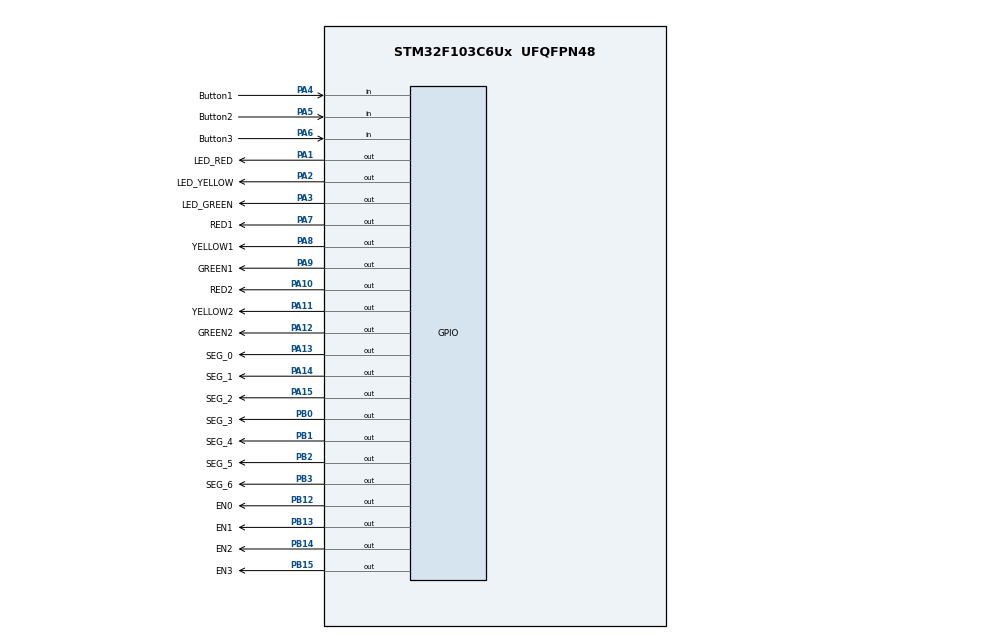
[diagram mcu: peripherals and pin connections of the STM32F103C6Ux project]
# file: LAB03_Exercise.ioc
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Mcu.Family=STM32F1
Mcu.Name=STM32F103C6Ux
Mcu.Package=UFQFPN48
NVIC.PriorityGroup=NVIC_PRIORITYGROUP_4
NVIC.TIM2_IRQn=true\:0\:0\:false\:false\:true\:true\:true
PA1.GPIO_Label=LED_RED
PA1.Signal=GPIO_Output
PA10.GPIO_Label=RED2
PA10.Signal=GPIO_Output
PA11.GPIO_Label=YELLOW2
PA11.Signal=GPIO_Output
PA12.GPIO_Label=GREEN2
PA12.Signal=GPIO_Output
PA13.GPIO_Label=SEG_0
PA13.Signal=GPIO_Output
PA14.GPIO_Label=SEG_1
PA14.Signal=GPIO_Output
PA15.GPIO_Label=SEG_2
PA15.Signal=GPIO_Output
PA2.GPIO_Label=LED_YELLOW
PA2.Signal=GPIO_Output
PA3.GPIO_Label=LED_GREEN
PA3.Signal=GPIO_Output
PA4.GPIO_Label=Button1
PA4.GPIO_PuPd=GPIO_PULLUP
PA4.Signal=GPIO_Input
PA5.GPIO_Label=Button2
PA5.GPIO_PuPd=GPIO_PULLUP
PA5.Signal=GPIO_Input
PA6.GPIO_Label=Button3
PA6.GPIO_PuPd=GPIO_PULLUP
PA6.Signal=GPIO_Input
PA7.GPIO_Label=RED1
PA7.Signal=GPIO_Output
PA8.GPIO_Label=YELLOW1
PA8.Signal=GPIO_Output
PA9.GPIO_Label=GREEN1
PA9.Signal=GPIO_Output
PB0.GPIO_Label=SEG_3
PB0.Signal=GPIO_Output
PB1.GPIO_Label=SEG_4
PB1.Signal=GPIO_Output
PB12.GPIO_Label=EN0
PB12.Signal=GPIO_Output
PB13.GPIO_Label=EN1
PB13.Signal=GPIO_Output
PB14.GPIO_Label=EN2
PB14.Signal=GPIO_Output
PB15.GPIO_Label=EN3
PB15.Signal=GPIO_Output
PB2.GPIO_Label=SEG_5
PB2.Signal=GPIO_Output
PB3.GPIO_Label=SEG_6
PB3.Signal=GPIO_Output
ProjectManager.HeapSize=0x200
ProjectManager.StackSize=0x400
ProjectManager.TargetToolchain=STM32CubeIDE
RCC.APB1Freq_Value=8000000
RCC.APB2Freq_Value=8000000
TIM2.Period=9
TIM2.Prescaler=7999
VP_SYS_VS_ND.Mode=No_Debug
VP_TIM2_VS_ClockSourceINT.Mode=Internal
board=custom

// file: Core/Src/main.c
/* USER CODE BEGIN Header */
/**
  ******************************************************************************
  * @file           : main.c
  * @brief          : Main program body
  ******************************************************************************
  * @attention
  *
  * <h2><center>&copy; Copyright (c) 2024 STMicroelectronics.
  * All rights reserved.</center></h2>
  *
  * This software component is licensed by ST under BSD 3-Clause license,
  * the "License"; You may not use this file except in compliance with the
  * License. You may obtain a copy of the License at:
  *                        opensource.org/licenses/BSD-3-Clause
  *
  ******************************************************************************
  */
/* USER CODE END Header */
#include "main.h"

/* USER CODE BEGIN Includes */
#include "software_timer.h"
#include "button.h"
#include "fsm_automatic.h"
#include "fsm_manual.h"
#include "fsm_setting.h"
#include "led7_segment.h"
#include "global.h"
/* USER CODE END Includes */

TIM_HandleTypeDef htim2;

void SystemClock_Config(void);
static void MX_GPIO_Init(void);
static void MX_TIM2_Init(void);

int main(void)
{

  /* MCU Configuration--------------------------------------------------------*/

  /* Reset of all peripherals, Initializes the Flash interface and the Systick. */
  HAL_Init();

  /* Configure the system clock */
  SystemClock_Config();

  /* Initialize all configured peripherals */
  MX_GPIO_Init();
  MX_TIM2_Init();
  /* USER CODE BEGIN 2 */
  HAL_TIM_Base_Start_IT(&htim2);
  /* USER CODE END 2 */

  /* Infinite loop */
  /* USER CODE BEGIN WHILE */
  //STATUS_7SEG = INIT;
  //STATUS_MODE = MODE1;
  //STATUS_MODE = MODE2;
  setTimer(0, 500);

  while (1)
  {
    /* USER CODE END WHILE */

    /* USER CODE BEGIN 3 */
	  // DEBUG
	  if(timer_flag[0] == 1){
		  HAL_GPIO_TogglePin(LED_RED_GPIO_Port, LED_RED_Pin);
		  setTimer(0, 500);
	  }
	  // TEST BUTTON
//	  if(isButtonPressed(0) == 1) {
//		  HAL_GPIO_TogglePin(LED_YELLOW_GPIO_Port, LED_YELLOW_Pin);
//	  }
//	  if(isButtonPressed(1) == 1) {
//		  HAL_GPIO_TogglePin(LED_YELLOW_GPIO_Port, LED_YELLOW_Pin);
//	  }
//	  if(isButtonPressed(2) == 1) {
//		  HAL_GPIO_TogglePin(LED_YELLOW_GPIO_Port, LED_YELLOW_Pin);
//	  }

	  fsm_setting_run();
	  fsm_automatic_run();
	  fsm_manual_run();
  }
  /* USER CODE END 3 */
}

void SystemClock_Config(void)
{
  RCC_OscInitTypeDef RCC_OscInitStruct = {0};
  RCC_ClkInitTypeDef RCC_ClkInitStruct = {0};

  /** Initializes the RCC Oscillators according to the specified parameters
  * in the RCC_OscInitTypeDef structure.
  */
  RCC_OscInitStruct.OscillatorType = RCC_OSCILLATORTYPE_HSI;
  RCC_OscInitStruct.HSIState = RCC_HSI_ON;
  RCC_OscInitStruct.HSICalibrationValue = RCC_HSICALIBRATION_DEFAULT;
  RCC_OscInitStruct.PLL.PLLState = RCC_PLL_NONE;
  if (HAL_RCC_OscConfig(&RCC_OscInitStruct) != HAL_OK)
  {
    Error_Handler();
  }
  /** Initializes the CPU, AHB and APB buses clocks
  */
  RCC_ClkInitStruct.ClockType = RCC_CLOCKTYPE_HCLK|RCC_CLOCKTYPE_SYSCLK
                              |RCC_CLOCKTYPE_PCLK1|RCC_CLOCKTYPE_PCLK2;
  RCC_ClkInitStruct.SYSCLKSource = RCC_SYSCLKSOURCE_HSI;
  RCC_ClkInitStruct.AHBCLKDivider = RCC_SYSCLK_DIV1;
  RCC_ClkInitStruct.APB1CLKDivider = RCC_HCLK_DIV1;
  RCC_ClkInitStruct.APB2CLKDivider = RCC_HCLK_DIV1;

  if (HAL_RCC_ClockConfig(&RCC_ClkInitStruct, FLASH_LATENCY_0) != HAL_OK)
  {
    Error_Handler();
  }
}

static void MX_TIM2_Init(void)
{

  TIM_ClockConfigTypeDef sClockSourceConfig = {0};
  TIM_MasterConfigTypeDef sMasterConfig = {0};

  htim2.Instance = TIM2;
  htim2.Init.Prescaler = 7999;
  htim2.Init.CounterMode = TIM_COUNTERMODE_UP;
  htim2.Init.Period = 9;
  htim2.Init.ClockDivision = TIM_CLOCKDIVISION_DIV1;
  htim2.Init.AutoReloadPreload = TIM_AUTORELOAD_PRELOAD_DISABLE;
  if (HAL_TIM_Base_Init(&htim2) != HAL_OK)
  {
    Error_Handler();
  }
  sClockSourceConfig.ClockSource = TIM_CLOCKSOURCE_INTERNAL;
  if (HAL_TIM_ConfigClockSource(&htim2, &sClockSourceConfig) != HAL_OK)
  {
    Error_Handler();
  }
  sMasterConfig.MasterOutputTrigger = TIM_TRGO_RESET;
  sMasterConfig.MasterSlaveMode = TIM_MASTERSLAVEMODE_DISABLE;
  if (HAL_TIMEx_MasterConfigSynchronization(&htim2, &sMasterConfig) != HAL_OK)
  {
    Error_Handler();
  }

}

static void MX_GPIO_Init(void)
{
  GPIO_InitTypeDef GPIO_InitStruct = {0};

  /* GPIO Ports Clock Enable */
  __HAL_RCC_GPIOA_CLK_ENABLE();
  __HAL_RCC_GPIOB_CLK_ENABLE();

  /*Configure GPIO pin Output Level */
  HAL_GPIO_WritePin(GPIOA, LED_RED_Pin|LED_YELLOW_Pin|LED_GREEN_Pin|RED1_Pin
                          |YELLOW1_Pin|GREEN1_Pin|RED2_Pin|YELLOW2_Pin
                          |GREEN2_Pin|SEG_0_Pin|SEG_1_Pin|SEG_2_Pin, GPIO_PIN_RESET);

  /*Configure GPIO pin Output Level */
  HAL_GPIO_WritePin(GPIOB, SEG_3_Pin|SEG_4_Pin|SEG_5_Pin|EN0_Pin
                          |EN1_Pin|EN2_Pin|EN3_Pin|SEG_6_Pin, GPIO_PIN_RESET);

  /*Configure GPIO pins : LED_RED_Pin LED_YELLOW_Pin LED_GREEN_Pin RED1_Pin
                           YELLOW1_Pin GREEN1_Pin RED2_Pin YELLOW2_Pin
                           GREEN2_Pin SEG_0_Pin SEG_1_Pin SEG_2_Pin */
  GPIO_InitStruct.Pin = LED_RED_Pin|LED_YELLOW_Pin|LED_GREEN_Pin|RED1_Pin
                          |YELLOW1_Pin|GREEN1_Pin|RED2_Pin|YELLOW2_Pin
                          |GREEN2_Pin|SEG_0_Pin|SEG_1_Pin|SEG_2_Pin;
  GPIO_InitStruct.Mode = GPIO_MODE_OUTPUT_PP;
  GPIO_InitStruct.Pull = GPIO_NOPULL;
  GPIO_InitStruct.Speed = GPIO_SPEED_FREQ_LOW;
  HAL_GPIO_Init(GPIOA, &GPIO_InitStruct);

  /*Configure GPIO pins : Button1_Pin Button2_Pin Button3_Pin */
  GPIO_InitStruct.Pin = Button1_Pin|Button2_Pin|Button3_Pin;
  GPIO_InitStruct.Mode = GPIO_MODE_INPUT;
  GPIO_InitStruct.Pull = GPIO_PULLUP;
  HAL_GPIO_Init(GPIOA, &GPIO_InitStruct);

  /*Configure GPIO pins : SEG_3_Pin SEG_4_Pin SEG_5_Pin EN0_Pin
                           EN1_Pin EN2_Pin EN3_Pin SEG_6_Pin */
  GPIO_InitStruct.Pin = SEG_3_Pin|SEG_4_Pin|SEG_5_Pin|EN0_Pin
                          |EN1_Pin|EN2_Pin|EN3_Pin|SEG_6_Pin;
  GPIO_InitStruct.Mode = GPIO_MODE_OUTPUT_PP;
  GPIO_InitStruct.Pull = GPIO_NOPULL;
  GPIO_InitStruct.Speed = GPIO_SPEED_FREQ_LOW;
  HAL_GPIO_Init(GPIOB, &GPIO_InitStruct);

}

/* USER CODE BEGIN 4 */
void HAL_TIM_PeriodElapsedCallback(TIM_HandleTypeDef *htim)
{
	timerRun();
	getKeyInput();
}

/* USER CODE END 4 */

void Error_Handler(void)
{
  __disable_irq();
  while (1)
  {
  }
}

/************************ (C) COPYRIGHT STMicroelectronics *****END OF FILE****/
